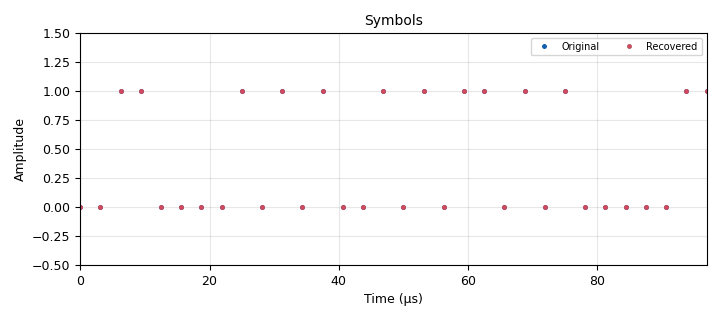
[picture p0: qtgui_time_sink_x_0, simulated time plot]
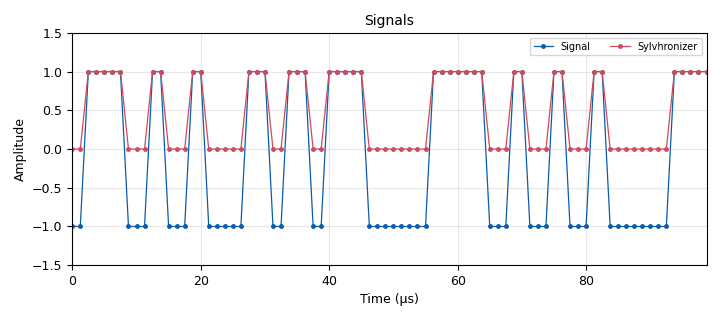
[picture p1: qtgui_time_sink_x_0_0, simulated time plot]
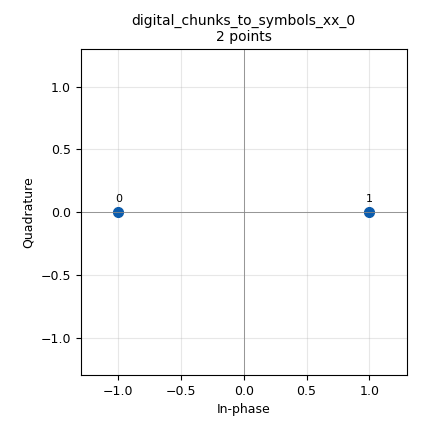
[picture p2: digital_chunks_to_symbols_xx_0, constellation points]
<?xml version='1.0' encoding='utf-8'?>
<?grc format='1' created='3.7.13'?>
<flow_graph>
<block>
<key>options</key>
<param><key>id</key><value>sylvhronizer</value></param>
<param><key>generate_options</key><value>qt_gui</value></param>
<param><key>title</key><value>Sylvhronizer</value></param>
</block>
<block>
<key>variable</key>
<param><key>id</key><value>M</value></param>
<param><key>value</key><value>5</value></param>
</block>
<block>
<key>variable</key>
<param><key>id</key><value>N</value></param>
<param><key>value</key><value>2</value></param>
</block>
<block>
<key>variable</key>
<param><key>id</key><value>samp_rate</value></param>
<param><key>value</key><value>320000</value></param>
</block>
<block>
<key>variable</key>
<param><key>id</key><value>samples_per_symbol</value></param>
<param><key>value</key><value>float(M) / float(N)</value></param>
</block>
<block>
<key>analog_random_source_x</key>
<param><key>id</key><value>analog_random_source_x_0</value></param>
<param><key>max</key><value>2</value></param>
<param><key>min</key><value>0</value></param>
<param><key>num_samps</key><value>2**10</value></param>
<param><key>type</key><value>int</value></param>
<param><key>repeat</key><value>True</value></param>
</block>
<block>
<key>virtual_sink</key>
<param><key>id</key><value>asd</value></param>
<param><key>stream_id</key><value>tx_signal</value></param>
</block>
<block>
<key>blocks_int_to_float</key>
<param><key>id</key><value>blocks_int_to_float_0</value></param>
<param><key>scale</key><value>1</value></param>
</block>
<block>
<key>blocks_keep_one_in_n</key>
<param><key>id</key><value>blocks_keep_one_in_n_0</value></param>
<param><key>n</key><value>N</value></param>
<param><key>type</key><value>float</value></param>
</block>
<block>
<key>blocks_repeat</key>
<param><key>id</key><value>blocks_repeat_0</value></param>
<param><key>interp</key><value>M</value></param>
<param><key>type</key><value>float</value></param>
</block>
<block>
<key>blocks_throttle</key>
<param><key>id</key><value>blocks_throttle_0</value></param>
<param><key>samples_per_second</key><value>samp_rate</value></param>
<param><key>type</key><value>int</value></param>
</block>
<block>
<key>blocks_uchar_to_float</key>
<param><key>id</key><value>blocks_uchar_to_float_0</value></param>
</block>
<block>
<key>digital_binary_slicer_fb</key>
<param><key>id</key><value>digital_binary_slicer_fb_0</value></param>
</block>
<block>
<key>digital_chunks_to_symbols_xx</key>
<param><key>id</key><value>digital_chunks_to_symbols_xx_0</value></param>
<param><key>dimension</key><value>1</value></param>
<param><key>in_type</key><value>int</value></param>
<param><key>out_type</key><value>float</value></param>
<param><key>symbol_table</key><value>[-1, 1]</value></param>
</block>
<block>
<key>epy_block</key>
<param><key>id</key><value>epy_block_0</value></param>
<param><key>_source_code</key><value>"""
Embedded Python Blocks:

Each time this file is saved, GRC will instantiate the first class it finds
to get ports and parameters of your block. The arguments to __init__  will
be the parameters. All of them are required to have default values!
"""

import numpy as np
from gnuradio import gr
import pmt

class Sylvhronizer(gr.sync_block):  # other base classes are basic_block, decim_block, interp_block
    """Embedded Python Block example - a simple multiply const"""

    def __init__(self, samples_per_symbol=2.5):  # only default arguments here
        """arguments to this function show up as parameters in GRC"""
        gr.sync_block.__init__(
            self,
            name=self.__class__.__name__,   # will show up in GRC
            in_sig=[np.float32],
            out_sig=[np.float32]
        )
        # if an attribute with the same name as a parameter is found,
        # a callback is registered (properties work, too).

        self.one_every = samples_per_symbol
        self.phase = float(self.one_every)
        self.previous_sample = None


    def work(self, input_items, output_items):
        """example: multiply with constant"""
        signal = input_items[0]
        
        for k, sample in enumerate(signal):
            self.phase -= 1.0

            if sample != self.previous_sample:
                self.phase = self.one_every / 2.0

            if self.phase &lt; 0.5:
                self.add_item_tag(  0, # Port number
                                    self.nitems_written(0) + k, # Offset
                                    pmt.intern("here"), # Key
                                    pmt.intern('%s' % k))
                self.phase += self.one_every

            self.previous_sample = sample

        output_items[0][:] = input_items[0]
        return len(output_items[0])
</value></param>
<param><key>samples_per_symbol</key><value>samples_per_symbol</value></param>
</block>
<block>
<key>epy_block</key>
<param><key>id</key><value>epy_block_1</value></param>
<param><key>_source_code</key><value>"""
Embedded Python Blocks:

Each time this file is saved, GRC will instantiate the first class it finds
to get ports and parameters of your block. The arguments to __init__  will
be the parameters. All of them are required to have default values!
"""

import numpy as np
from gnuradio import gr


class TaggedSamplesPicker(gr.basic_block):

    def __init__(self, tag_key='here'):
        gr.basic_block.__init__(
            self,
            name=self.__class__.__name__,
            in_sig=[np.float32],
            out_sig=[np.float32]
        )
        self.tag_key = tag_key
        self.set_tag_propagation_policy(gr.TPP_CUSTOM)

    def general_work(self, input_items, output_items):
		
        n_output_asked = len(output_items[0])

        tags = self.get_tags_in_window(0, 0, len(input_items[0]))
        
        ks = list(map(lambda tag: tag.offset - self.nitems_read(0), tags))

        if len(ks) &lt;= n_output_asked:
			# It can't produce as many output as asked:
            n_output_produced = len(ks)
            self.consume(0, len(input_items[0]))
        else:
			# It was given more inputs than needed:
			n_output_produced = n_output_asked
			self.consume(0, tags[ks[-1]].offset)

        output_items[0][:n_output_produced] = input_items[0][ks[:n_output_produced]]
        return n_output_produced
</value></param>
<param><key>tag_key</key><value>'here'</value></param>
</block>
<block>
<key>qtgui_time_sink_x</key>
<param><key>id</key><value>qtgui_time_sink_x_0</value></param>
<param><key>gui_hint</key><value>0,0,1,2</value></param>
<param><key>grid</key><value>True</value></param>
<param><key>color1</key><value>"cyan"</value></param>
<param><key>label1</key><value>Original</value></param>
<param><key>marker1</key><value>0</value></param>
<param><key>style1</key><value>0</value></param>
<param><key>width1</key><value>4</value></param>
<param><key>color2</key><value>"red"</value></param>
<param><key>label2</key><value>Recovered</value></param>
<param><key>marker2</key><value>2</value></param>
<param><key>style2</key><value>0</value></param>
<param><key>name</key><value>"Symbols"</value></param>
<param><key>nconnections</key><value>2</value></param>
<param><key>size</key><value>32</value></param>
<param><key>srate</key><value>samp_rate</value></param>
<param><key>type</key><value>float</value></param>
<param><key>ymax</key><value>1.5</value></param>
<param><key>ymin</key><value>-.5</value></param>
</block>
<block>
<key>qtgui_time_sink_x</key>
<param><key>id</key><value>qtgui_time_sink_x_0_0</value></param>
<param><key>gui_hint</key><value>1,0,1,2</value></param>
<param><key>grid</key><value>True</value></param>
<param><key>color1</key><value>"blue"</value></param>
<param><key>label1</key><value>Signal</value></param>
<param><key>marker1</key><value>0</value></param>
<param><key>color2</key><value>"red"</value></param>
<param><key>label2</key><value>Sylvhronizer</value></param>
<param><key>marker2</key><value>8</value></param>
<param><key>name</key><value>"Signals"</value></param>
<param><key>nconnections</key><value>2</value></param>
<param><key>size</key><value>32*5/2</value></param>
<param><key>srate</key><value>samp_rate*5/2</value></param>
<param><key>type</key><value>float</value></param>
<param><key>ymax</key><value>1.5</value></param>
<param><key>ymin</key><value>-1.5</value></param>
</block>
<block>
<key>virtual_source</key>
<param><key>id</key><value>qweqwe</value></param>
<param><key>stream_id</key><value>tx_signal</value></param>
</block>
<connection><source_block_id>analog_random_source_x_0</source_block_id><sink_block_id>blocks_throttle_0</sink_block_id><source_key>0</source_key><sink_key>0</sink_key></connection>
<connection><source_block_id>blocks_int_to_float_0</source_block_id><sink_block_id>qtgui_time_sink_x_0</sink_block_id><source_key>0</source_key><sink_key>0</sink_key></connection>
<connection><source_block_id>blocks_keep_one_in_n_0</source_block_id><sink_block_id>asd</sink_block_id><source_key>0</source_key><sink_key>0</sink_key></connection>
<connection><source_block_id>blocks_repeat_0</source_block_id><sink_block_id>blocks_keep_one_in_n_0</sink_block_id><source_key>0</source_key><sink_key>0</sink_key></connection>
<connection><source_block_id>blocks_throttle_0</source_block_id><sink_block_id>blocks_int_to_float_0</sink_block_id><source_key>0</source_key><sink_key>0</sink_key></connection>
<connection><source_block_id>blocks_throttle_0</source_block_id><sink_block_id>digital_chunks_to_symbols_xx_0</sink_block_id><source_key>0</source_key><sink_key>0</sink_key></connection>
<connection><source_block_id>blocks_uchar_to_float_0</source_block_id><sink_block_id>epy_block_0</sink_block_id><source_key>0</source_key><sink_key>0</sink_key></connection>
<connection><source_block_id>digital_binary_slicer_fb_0</source_block_id><sink_block_id>blocks_uchar_to_float_0</sink_block_id><source_key>0</source_key><sink_key>0</sink_key></connection>
<connection><source_block_id>digital_chunks_to_symbols_xx_0</source_block_id><sink_block_id>blocks_repeat_0</sink_block_id><source_key>0</source_key><sink_key>0</sink_key></connection>
<connection><source_block_id>epy_block_0</source_block_id><sink_block_id>epy_block_1</sink_block_id><source_key>0</source_key><sink_key>0</sink_key></connection>
<connection><source_block_id>epy_block_0</source_block_id><sink_block_id>qtgui_time_sink_x_0_0</sink_block_id><source_key>0</source_key><sink_key>1</sink_key></connection>
<connection><source_block_id>epy_block_1</source_block_id><sink_block_id>qtgui_time_sink_x_0</sink_block_id><source_key>0</source_key><sink_key>1</sink_key></connection>
<connection><source_block_id>qweqwe</source_block_id><sink_block_id>digital_binary_slicer_fb_0</sink_block_id><source_key>0</source_key><sink_key>0</sink_key></connection>
<connection><source_block_id>qweqwe</source_block_id><sink_block_id>qtgui_time_sink_x_0_0</sink_block_id><source_key>0</source_key><sink_key>0</sink_key></connection>
</flow_graph>
